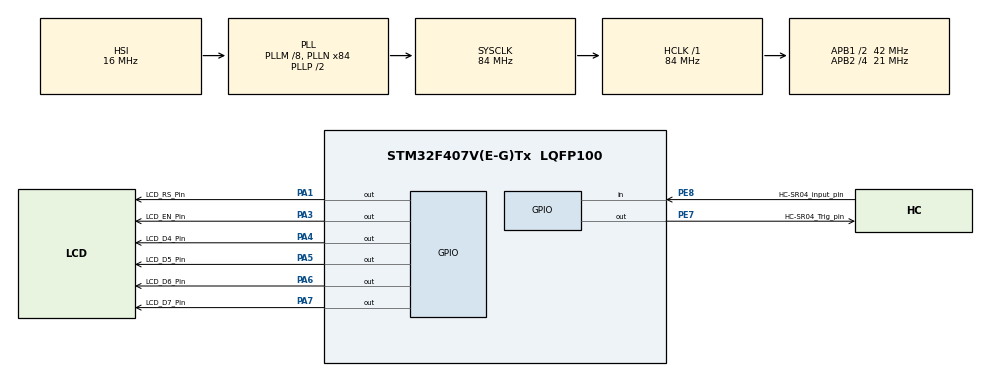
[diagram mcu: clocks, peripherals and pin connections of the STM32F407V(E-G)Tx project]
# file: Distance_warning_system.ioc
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Mcu.Family=STM32F4
Mcu.Name=STM32F407V(E-G)Tx
Mcu.Package=LQFP100
NVIC.PriorityGroup=NVIC_PRIORITYGROUP_0
PA1.GPIO_Label=LCD_RS_Pin
PA1.Signal=GPIO_Output
PA13.Mode=Serial_Wire
PA13.Signal=SYS_JTMS-SWDIO
PA14.Mode=Serial_Wire
PA14.Signal=SYS_JTCK-SWCLK
PA3.GPIO_Label=LCD_EN_Pin
PA3.Signal=GPIO_Output
PA4.GPIO_Label=LCD_D4_Pin
PA4.Signal=GPIO_Output
PA5.GPIO_Label=LCD_D5_Pin
PA5.Signal=GPIO_Output
PA6.GPIO_Label=LCD_D6_Pin
PA6.Signal=GPIO_Output
PA7.GPIO_Label=LCD_D7_Pin
PA7.Signal=GPIO_Output
PE7.GPIO_Label=HC-SR04_Trig_pin
PE7.Signal=GPIO_Output
PE8.GPIO_Label=HC-SR04_input_pin
PE8.Signal=GPIO_Input
PH0-OSC_IN.Mode=HSE-External-Oscillator
PH0-OSC_IN.Signal=RCC_OSC_IN
PH1-OSC_OUT.Mode=HSE-External-Oscillator
PH1-OSC_OUT.Signal=RCC_OSC_OUT
ProjectManager.HeapSize=0x200
ProjectManager.StackSize=0x400
ProjectManager.TargetToolchain=STM32CubeIDE
RCC.48MHZClocksFreq_Value=24000000
RCC.AHBFreq_Value=84000000
RCC.APB1CLKDivider=RCC_HCLK_DIV2
RCC.APB1Freq_Value=42000000
RCC.APB1TimFreq_Value=84000000
RCC.APB2CLKDivider=RCC_HCLK_DIV4
RCC.APB2Freq_Value=21000000
RCC.APB2TimFreq_Value=42000000
RCC.CortexFreq_Value=84000000
RCC.HCLKFreq_Value=84000000
RCC.HSE_VALUE=8000000
RCC.HSI_VALUE=16000000
RCC.LSE_VALUE=32768
RCC.PLLM=8
RCC.PLLN=84
RCC.PLLQ=7
RCC.SYSCLKFreq_VALUE=84000000
RCC.SYSCLKSource=RCC_SYSCLKSOURCE_PLLCLK
RCC.VCOOutputFreq_Value=168000000
TIM1.AutoReloadPreload=TIM_AUTORELOAD_PRELOAD_ENABLE
TIM1.Prescaler=41
TIM6.AutoReloadPreload=TIM_AUTORELOAD_PRELOAD_ENABLE
TIM6.Prescaler=41
TIM8.AutoReloadPreload=TIM_AUTORELOAD_PRELOAD_ENABLE
TIM8.Period=999
TIM8.Prescaler=839
VP_TIM1_VS_ClockSourceINT.Mode=Internal
VP_TIM6_VS_ClockSourceINT.Mode=Enable_Timer
VP_TIM8_VS_ClockSourceINT.Mode=Internal
board=STM32F407G-DISC1

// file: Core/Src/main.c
/* USER CODE BEGIN Header */
/**
  ******************************************************************************
  * @file           : main.c
  * @brief          : Main program body
  ******************************************************************************
  * @attention
  *
  * Copyright (c) 2023 STMicroelectronics.
  * All rights reserved.
  *
  * This software is licensed under terms that can be found in the LICENSE file
  * in the root directory of this software component.
  * If no LICENSE file comes with this software, it is provided AS-IS.
  *
  ******************************************************************************
  */
/* USER CODE END Header */
#include "main.h"
#include "lcd_driver.h"
#include "HC_SR04.h"

TIM_HandleTypeDef htim1;
TIM_HandleTypeDef htim6;
TIM_HandleTypeDef htim8;

void SystemClock_Config(void);
static void MX_GPIO_Init(void);
static void MX_TIM6_Init(void);
static void MX_TIM1_Init(void);
static void MX_TIM8_Init(void);

/* USER CODE BEGIN 0 */
uint16_t  mesafe =0;
char  yazi[10] ={};
/* USER CODE END 0 */

int main(void)
{

  /* MCU Configuration--------------------------------------------------------*/

  /* Reset of all peripherals, Initializes the Flash interface and the Systick. */
  HAL_Init();

  /* Configure the system clock */
  SystemClock_Config();

  /* Initialize all configured peripherals */
  MX_GPIO_Init();
  MX_TIM6_Init();
  MX_TIM1_Init();
  MX_TIM8_Init();
  /* USER CODE BEGIN 2 */
HAL_TIM_Base_Start(&htim1);

Lcd_Init();

lcd_put_(0,0);
lcd_send_string_newline("hosgeldiniz");
HAL_Delay(1000);
char  yazi[10] ={};

  /* USER CODE END 2 */

  /* Infinite loop */
  /* USER CODE BEGIN WHILE */
  while (1)
  {

	mesafe = Get_Hcsr04_distance();
    sprintf(yazi ,"%d",mesafe);

	if(mesafe <20)
	{
		clear_lcd();

		lcd_put_(0,5);
		lcd_send_string_newline("UYARII");

		lcd_put_(1,0);
		lcd_send_string_newline("sinir ihlali");

		lcd_put_(1,13);
		lcd_send_string_newline(yazi);

	}
	else
	{
		clear_lcd();

		lcd_put_(0,5);
		lcd_send_string_newline("guvenli");

		lcd_put_(1,0);
		lcd_send_string_newline(yazi);

		lcd_put_(1,3);
		lcd_send_string_newline("cm");
	}

	HAL_Delay(100);

    /* USER CODE END WHILE */

  }
}

void SystemClock_Config(void)
{
  RCC_OscInitTypeDef RCC_OscInitStruct = {0};
  RCC_ClkInitTypeDef RCC_ClkInitStruct = {0};

  /** Configure the main internal regulator output voltage
  */
  __HAL_RCC_PWR_CLK_ENABLE();
  __HAL_PWR_VOLTAGESCALING_CONFIG(PWR_REGULATOR_VOLTAGE_SCALE1);

  /** Initializes the RCC Oscillators according to the specified parameters
  * in the RCC_OscInitTypeDef structure.
  */
  RCC_OscInitStruct.OscillatorType = RCC_OSCILLATORTYPE_HSI;
  RCC_OscInitStruct.HSIState = RCC_HSI_ON;
  RCC_OscInitStruct.HSICalibrationValue = RCC_HSICALIBRATION_DEFAULT;
  RCC_OscInitStruct.PLL.PLLState = RCC_PLL_ON;
  RCC_OscInitStruct.PLL.PLLSource = RCC_PLLSOURCE_HSI;
  RCC_OscInitStruct.PLL.PLLM = 8;
  RCC_OscInitStruct.PLL.PLLN = 84;
  RCC_OscInitStruct.PLL.PLLP = RCC_PLLP_DIV2;
  RCC_OscInitStruct.PLL.PLLQ = 7;
  if (HAL_RCC_OscConfig(&RCC_OscInitStruct) != HAL_OK)
  {
    Error_Handler();
  }

  /** Initializes the CPU, AHB and APB buses clocks
  */
  RCC_ClkInitStruct.ClockType = RCC_CLOCKTYPE_HCLK|RCC_CLOCKTYPE_SYSCLK
                              |RCC_CLOCKTYPE_PCLK1|RCC_CLOCKTYPE_PCLK2;
  RCC_ClkInitStruct.SYSCLKSource = RCC_SYSCLKSOURCE_PLLCLK;
  RCC_ClkInitStruct.AHBCLKDivider = RCC_SYSCLK_DIV1;
  RCC_ClkInitStruct.APB1CLKDivider = RCC_HCLK_DIV2;
  RCC_ClkInitStruct.APB2CLKDivider = RCC_HCLK_DIV4;

  if (HAL_RCC_ClockConfig(&RCC_ClkInitStruct, FLASH_LATENCY_2) != HAL_OK)
  {
    Error_Handler();
  }
}

static void MX_TIM1_Init(void)
{

  TIM_ClockConfigTypeDef sClockSourceConfig = {0};
  TIM_MasterConfigTypeDef sMasterConfig = {0};

  htim1.Instance = TIM1;
  htim1.Init.Prescaler = 41;
  htim1.Init.CounterMode = TIM_COUNTERMODE_UP;
  htim1.Init.Period = 65535;
  htim1.Init.ClockDivision = TIM_CLOCKDIVISION_DIV1;
  htim1.Init.RepetitionCounter = 0;
  htim1.Init.AutoReloadPreload = TIM_AUTORELOAD_PRELOAD_ENABLE;
  if (HAL_TIM_Base_Init(&htim1) != HAL_OK)
  {
    Error_Handler();
  }
  sClockSourceConfig.ClockSource = TIM_CLOCKSOURCE_INTERNAL;
  if (HAL_TIM_ConfigClockSource(&htim1, &sClockSourceConfig) != HAL_OK)
  {
    Error_Handler();
  }
  sMasterConfig.MasterOutputTrigger = TIM_TRGO_RESET;
  sMasterConfig.MasterSlaveMode = TIM_MASTERSLAVEMODE_DISABLE;
  if (HAL_TIMEx_MasterConfigSynchronization(&htim1, &sMasterConfig) != HAL_OK)
  {
    Error_Handler();
  }

}

static void MX_TIM6_Init(void)
{

  TIM_MasterConfigTypeDef sMasterConfig = {0};

  htim6.Instance = TIM6;
  htim6.Init.Prescaler = 41;
  htim6.Init.CounterMode = TIM_COUNTERMODE_UP;
  htim6.Init.Period = 65535;
  htim6.Init.AutoReloadPreload = TIM_AUTORELOAD_PRELOAD_ENABLE;
  if (HAL_TIM_Base_Init(&htim6) != HAL_OK)
  {
    Error_Handler();
  }
  sMasterConfig.MasterOutputTrigger = TIM_TRGO_RESET;
  sMasterConfig.MasterSlaveMode = TIM_MASTERSLAVEMODE_DISABLE;
  if (HAL_TIMEx_MasterConfigSynchronization(&htim6, &sMasterConfig) != HAL_OK)
  {
    Error_Handler();
  }

}

static void MX_TIM8_Init(void)
{

  TIM_ClockConfigTypeDef sClockSourceConfig = {0};
  TIM_MasterConfigTypeDef sMasterConfig = {0};

  htim8.Instance = TIM8;
  htim8.Init.Prescaler = 839;
  htim8.Init.CounterMode = TIM_COUNTERMODE_UP;
  htim8.Init.Period = 999;
  htim8.Init.ClockDivision = TIM_CLOCKDIVISION_DIV1;
  htim8.Init.RepetitionCounter = 0;
  htim8.Init.AutoReloadPreload = TIM_AUTORELOAD_PRELOAD_ENABLE;
  if (HAL_TIM_Base_Init(&htim8) != HAL_OK)
  {
    Error_Handler();
  }
  sClockSourceConfig.ClockSource = TIM_CLOCKSOURCE_INTERNAL;
  if (HAL_TIM_ConfigClockSource(&htim8, &sClockSourceConfig) != HAL_OK)
  {
    Error_Handler();
  }
  sMasterConfig.MasterOutputTrigger = TIM_TRGO_RESET;
  sMasterConfig.MasterSlaveMode = TIM_MASTERSLAVEMODE_DISABLE;
  if (HAL_TIMEx_MasterConfigSynchronization(&htim8, &sMasterConfig) != HAL_OK)
  {
    Error_Handler();
  }

}

static void MX_GPIO_Init(void)
{
  GPIO_InitTypeDef GPIO_InitStruct = {0};

  /* GPIO Ports Clock Enable */
  __HAL_RCC_GPIOH_CLK_ENABLE();
  __HAL_RCC_GPIOA_CLK_ENABLE();
  __HAL_RCC_GPIOE_CLK_ENABLE();

  /*Configure GPIO pin Output Level */
  HAL_GPIO_WritePin(GPIOA, LCD_RS_Pin_Pin|LCD_EN_Pin_Pin|LCD_D4_Pin_Pin|LCD_D5_Pin_Pin
                          |LCD_D6_Pin_Pin|LCD_D7_Pin_Pin, GPIO_PIN_RESET);

  /*Configure GPIO pin Output Level */
  HAL_GPIO_WritePin(HC_SR04_Trig_pin_GPIO_Port, HC_SR04_Trig_pin_Pin, GPIO_PIN_RESET);

  /*Configure GPIO pins : LCD_RS_Pin_Pin LCD_EN_Pin_Pin LCD_D4_Pin_Pin LCD_D5_Pin_Pin
                           LCD_D6_Pin_Pin LCD_D7_Pin_Pin */
  GPIO_InitStruct.Pin = LCD_RS_Pin_Pin|LCD_EN_Pin_Pin|LCD_D4_Pin_Pin|LCD_D5_Pin_Pin
                          |LCD_D6_Pin_Pin|LCD_D7_Pin_Pin;
  GPIO_InitStruct.Mode = GPIO_MODE_OUTPUT_PP;
  GPIO_InitStruct.Pull = GPIO_NOPULL;
  GPIO_InitStruct.Speed = GPIO_SPEED_FREQ_LOW;
  HAL_GPIO_Init(GPIOA, &GPIO_InitStruct);

  /*Configure GPIO pin : HC_SR04_Trig_pin_Pin */
  GPIO_InitStruct.Pin = HC_SR04_Trig_pin_Pin;
  GPIO_InitStruct.Mode = GPIO_MODE_OUTPUT_PP;
  GPIO_InitStruct.Pull = GPIO_NOPULL;
  GPIO_InitStruct.Speed = GPIO_SPEED_FREQ_LOW;
  HAL_GPIO_Init(HC_SR04_Trig_pin_GPIO_Port, &GPIO_InitStruct);

  /*Configure GPIO pin : HC_SR04_input_pin_Pin */
  GPIO_InitStruct.Pin = HC_SR04_input_pin_Pin;
  GPIO_InitStruct.Mode = GPIO_MODE_INPUT;
  GPIO_InitStruct.Pull = GPIO_NOPULL;
  HAL_GPIO_Init(HC_SR04_input_pin_GPIO_Port, &GPIO_InitStruct);

}

void Error_Handler(void)
{
  __disable_irq();
  while (1)
  {
  }
}
